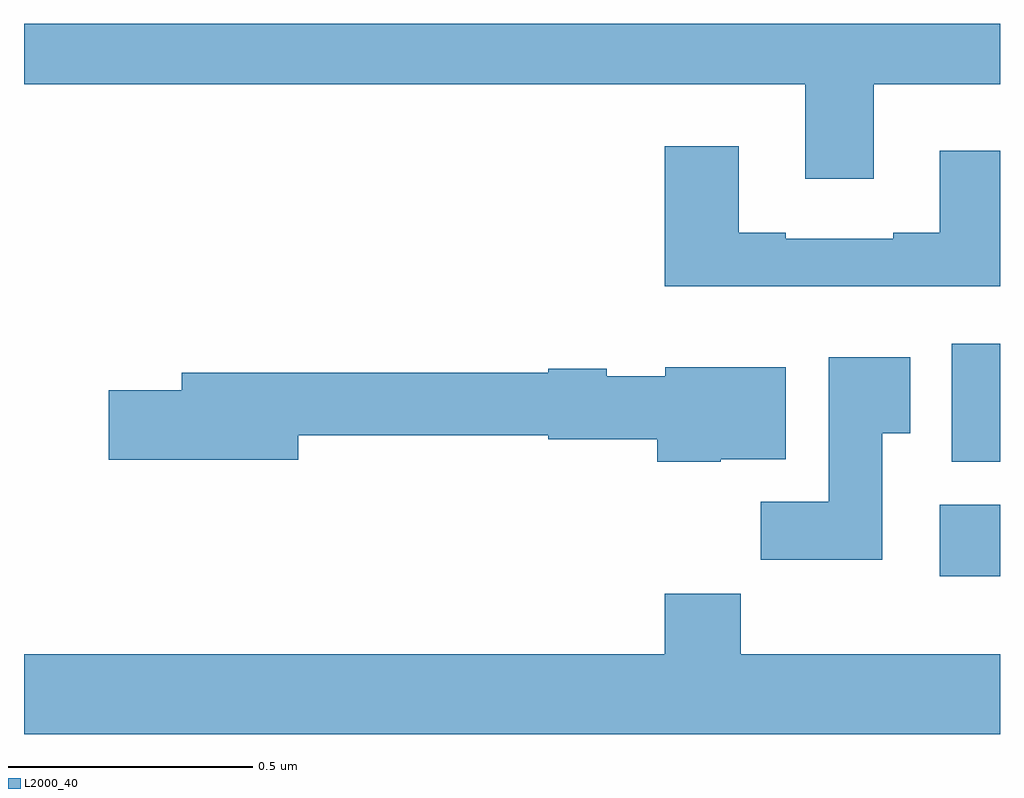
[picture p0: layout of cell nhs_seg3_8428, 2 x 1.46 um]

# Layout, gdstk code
import gdstk
lib = gdstk.Library(unit=1e-6, precision=1e-09)
def R(c, l, rs):  # rectangles x0, y0, x1, y1
    for r in rs: c.add(gdstk.rectangle(r[:2], r[2:], *l))
def P(c, l, *ps):  # polygons
    for p in ps: c.add(gdstk.Polygon(p, *l))
L2000_40 = (2000, 40)

nhs_seg3_8428 = lib.new_cell('nhs_seg3_8428')
R(nhs_seg3_8428, L2000_40, [(217.877,673.268,218,673.414), (217.901,673.502,218,673.744)])
P(nhs_seg3_8428, L2000_40, [(217.741,674.276),(218,674.276),(218,674.4),(216,674.4),(216,674.276),(217.601,674.276),(217.601,674.082),(217.741,674.082)],
  [(218,674.14),(217.877,674.14),(217.877,673.972),(217.781,673.972),(217.781,673.959),(217.561,673.959),(217.561,673.972),(217.465,673.972),(217.465,674.149),(217.313,674.149),(217.313,673.862),(218,673.862)],
  [(217.759,673.561),(217.816,673.561),(217.816,673.717),(217.649,673.717),(217.649,673.42),(217.51,673.42),(217.51,673.302),(217.759,673.302)],
  [(217.428,673.508),(217.561,673.508),(217.561,673.696),(217.314,673.696),(217.314,673.678),(217.194,673.678),(217.194,673.693),(217.074,673.693),(217.074,673.685),(216.323,673.685),(216.323,673.649),(216.174,673.649),(216.174,673.507),(216.562,673.507),(216.562,673.557),(217.074,673.557),(217.074,673.549),(217.298,673.549),(217.298,673.502),(217.428,673.502)],
  [(218,673.108),(217.469,673.108),(217.469,673.232),(217.313,673.232),(217.313,673.108),(216,673.108),(216,672.944),(218,672.944)])

lib.write_gds('nhs_seg3_8428.gds')
